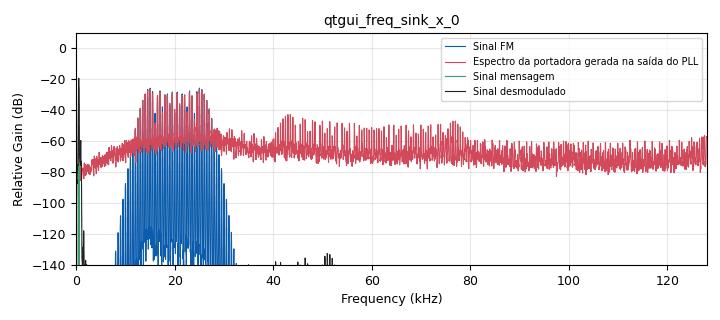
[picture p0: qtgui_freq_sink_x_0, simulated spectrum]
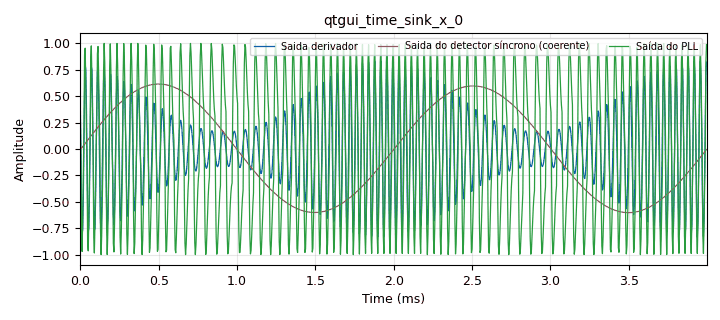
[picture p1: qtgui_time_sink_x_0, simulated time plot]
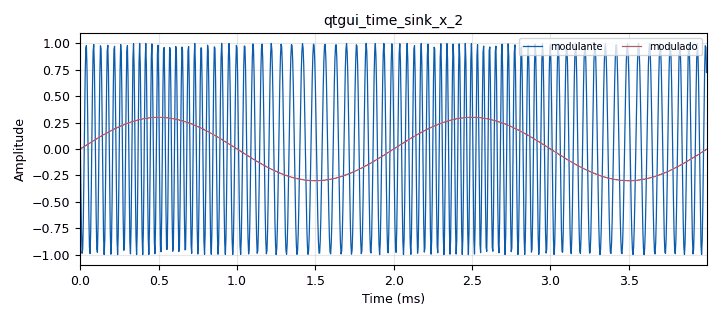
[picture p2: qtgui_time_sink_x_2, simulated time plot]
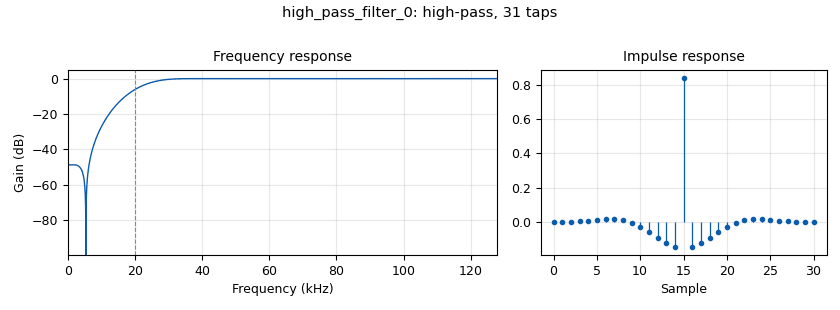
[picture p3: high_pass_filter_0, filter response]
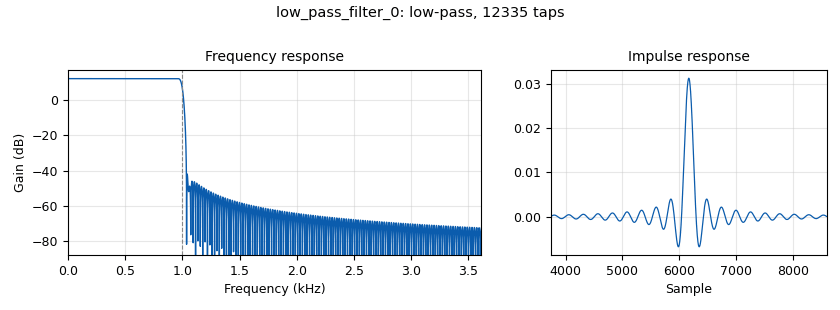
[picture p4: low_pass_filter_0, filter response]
options:
  parameters:
    category: Custom
    generate_options: qt_gui
    id: Labo4_4
    output_language: python
    title: Desmodulacao FM com Deteccao por Inclinacao
  states: {}

blocks:
- name: A
  id: variable_qtgui_range
  parameters:
    gui_hint: 0,0,1,1
    label: Ampl modulante
    start: '0'
    step: '0.01'
    stop: '0.7'
    value: '0.3'
  states: {}
- name: F
  id: variable_qtgui_range
  parameters:
    gui_hint: 0,1,1,1
    label: Freq modulante
    start: '0'
    step: '100'
    stop: '1000'
    value: '500'
  states: {}
- name: fc
  id: variable
  parameters:
    value: 10**4
  states: {}
- name: pi
  id: variable
  parameters:
    value: '3.14159'
  states: {}
- name: pll_bw
  id: variable_qtgui_range
  parameters:
    label: pll_bw
    start: '0'
    step: '0.00001'
    stop: pi/10
    value: '0.077'
  states: {}
- name: samp_rate
  id: variable
  parameters:
    value: 32000*8
  states: {}
- name: analog_pll_refout_cc_0
  id: analog_pll_refout_cc
  parameters:
    max_freq: 2*pi*(80**3)/samp_rate
    min_freq: 2*pi*(1*10**3)/samp_rate
    w: pll_bw
  states: {}
- name: analog_sig_source_x_0
  id: analog_sig_source_x
  parameters:
    amp: A
    freq: F
    offset: '0.0'
    phase: '0'
    samp_rate: samp_rate
    type: float
    waveform: analog.GR_COS_WAVE
  states: {}
- name: blocks_add_const_vxx_0
  id: blocks_add_const_vxx
  parameters:
    const: '1'
    type: float
  states: {}
- name: blocks_complex_to_real_0
  id: blocks_complex_to_real
  parameters: {}
  states: {}
- name: blocks_float_to_complex_0_0
  id: blocks_float_to_complex
  parameters: {}
  states: {}
- name: blocks_multiply_xx_0
  id: blocks_multiply_xx
  parameters:
    type: float
  states: {}
- name: blocks_throttle_0
  id: blocks_throttle
  parameters:
    samples_per_second: samp_rate
    type: float
  states: {}
- name: blocks_vco_f_0
  id: blocks_vco_f
  parameters:
    amplitude: '1'
    samp_rate: samp_rate
    sensitivity: 2*6.28*10**4
  states: {}
- name: dc_blocker_xx_0
  id: dc_blocker_xx
  parameters:
    length: '320'
    long_form: 'True'
    type: ff
  states: {}
- name: high_pass_filter_0
  id: high_pass_filter
  parameters:
    cutoff_freq: '20000'
    decim: '1'
    gain: '1'
    samp_rate: samp_rate
    type: fir_filter_fff
    width: '20000'
    win: window.WIN_HAMMING
  states: {}
- name: low_pass_filter_0
  id: low_pass_filter
  parameters:
    cutoff_freq: 2*F
    decim: '1'
    gain: '4'
    samp_rate: samp_rate
    type: fir_filter_fff
    width: '50'
    win: window.WIN_HAMMING
  states: {}
- name: qtgui_freq_sink_x_0
  id: qtgui_freq_sink_x
  parameters:
    average: '0.1'
    bw: samp_rate
    fc: '0'
    fftsize: '8192'
    freqhalf: 'False'
    label1: Sinal FM
    label2: Espectro da portadora gerada na saída do PLL
    label3: Sinal mensagem
    label4: Sinal desmodulado
    nconnections: '4'
    showports: 'True'
    type: float
  states: {}
- name: qtgui_time_sink_x_0
  id: qtgui_time_sink_x
  parameters:
    autoscale: 'True'
    entags: 'False'
    grid: 'True'
    label1: Saida derivador
    label2: Saida do detector síncrono (coerente)
    label3: Saída do PLL
    name: ''
    nconnections: '3'
    size: '1024'
    srate: samp_rate
    tr_chan: '1'
    tr_mode: qtgui.TRIG_MODE_AUTO
    type: float
  states: {}
- name: qtgui_time_sink_x_2
  id: qtgui_time_sink_x
  parameters:
    autoscale: 'True'
    grid: 'True'
    label1: modulante
    label2: modulado
    name: ''
    nconnections: '2'
    size: '1024'
    srate: samp_rate
    tr_chan: '1'
    tr_mode: qtgui.TRIG_MODE_AUTO
    type: float
  states: {}

connections:
- [analog_pll_refout_cc_0, '0', blocks_complex_to_real_0, '0']
- [analog_sig_source_x_0, '0', blocks_throttle_0, '0']
- [analog_sig_source_x_0, '0', qtgui_freq_sink_x_0, '2']
- [analog_sig_source_x_0, '0', qtgui_time_sink_x_2, '1']
- [blocks_add_const_vxx_0, '0', blocks_vco_f_0, '0']
- [blocks_complex_to_real_0, '0', blocks_multiply_xx_0, '1']
- [blocks_complex_to_real_0, '0', qtgui_freq_sink_x_0, '1']
- [blocks_complex_to_real_0, '0', qtgui_time_sink_x_0, '2']
- [blocks_float_to_complex_0_0, '0', analog_pll_refout_cc_0, '0']
- [blocks_multiply_xx_0, '0', low_pass_filter_0, '0']
- [blocks_throttle_0, '0', blocks_add_const_vxx_0, '0']
- [blocks_vco_f_0, '0', high_pass_filter_0, '0']
- [blocks_vco_f_0, '0', qtgui_freq_sink_x_0, '0']
- [blocks_vco_f_0, '0', qtgui_time_sink_x_2, '0']
- [dc_blocker_xx_0, '0', qtgui_freq_sink_x_0, '3']
- [dc_blocker_xx_0, '0', qtgui_time_sink_x_0, '1']
- [high_pass_filter_0, '0', blocks_float_to_complex_0_0, '0']
- [high_pass_filter_0, '0', blocks_multiply_xx_0, '0']
- [high_pass_filter_0, '0', qtgui_time_sink_x_0, '0']
- [low_pass_filter_0, '0', dc_blocker_xx_0, '0']

metadata:
  file_format: 1
  grc_version: 3.10.7.0
